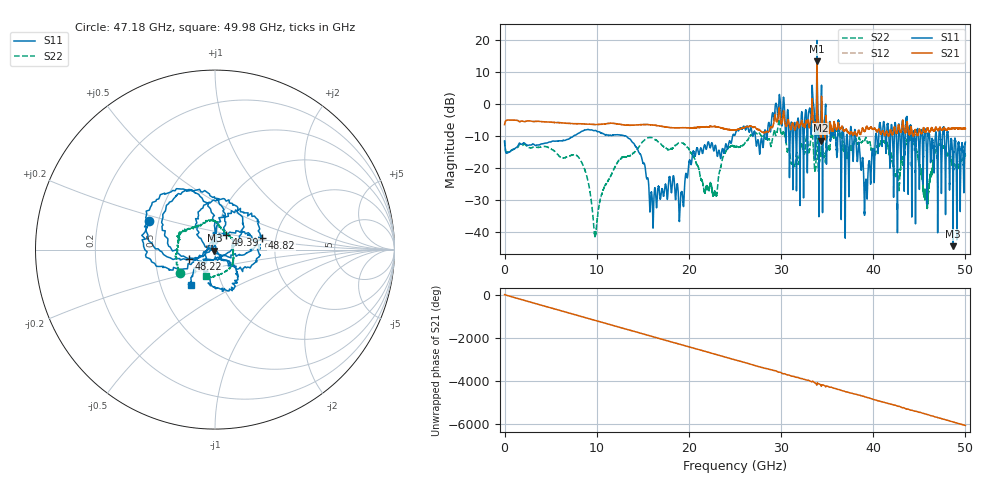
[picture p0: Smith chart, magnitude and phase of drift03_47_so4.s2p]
!Created with skrf (http://scikit-rf.org).
# Hz S RI R 50.0
!freq ReS11 ImS11 ReS21 ImS21 ReS12 ImS12 ReS22 ImS22
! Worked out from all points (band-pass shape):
!   10001 points, 300 kHz to 50 GHz, reference 50 ohm
!   highest |S21| = 13.21 dB at 33.9 GHz (marker M1); lowest = -11.4 dB at 34.32 GHz (marker M2)
!   |S21| within 3 dB of the highest: 33.8898 GHz to 33.90475 GHz (14.96 MHz wide, 0.0441 % of centre)
!   lowest |S11| = -44.3 dB at 48.67 GHz (marker M3), VSWR 1.01, Z = 49.7 - j0.533 ohm
!   |S11| at or under -10 dB: start of sweep to 7.489 GHz; 13.13 GHz to 24.74 GHz (11.61 GHz wide, 61.3 % of centre); 38.09 GHz to 40.25 GHz (2.159 GHz wide, 5.51 % of centre) (the widest 3 of 49)
!   |S22| runs from -41.4 to 5.5 dB; largest |S21 - S12| = 0.34
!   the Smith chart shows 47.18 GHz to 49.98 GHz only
!   S11 on the Smith chart (normalised r, x): 47.18 GHz: 0.44, +0.17; 48.22 GHz: 0.74, -0.08; 48.82 GHz: 1.70, +0.24; 49.39 GHz: 1.12, +0.18; 49.98 GHz: 0.71, -0.30
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300000  -0.2349 -0.1215  0.4667 0.0801  0.4658 0.0807  -0.236 -0.1262
1.440291e9  0.21 0.0649  -0.5475 -0.0293  -0.548 -0.0295  0.2114 -0.00419
2.915283e9  -0.2121 -0.088  0.534 0.0519  0.5343 0.0519  -0.2022 0.0401
4.415274e9  0.2061 0.1324  -0.5221 -0.0421  -0.5217 -0.0422  0.1983 -0.087
8.33525e9  0.2889 -0.2334  0.146 0.4663  0.1462 0.4665  -0.0727 -0.1016
9.845241e9  -0.3637 0.1287  -0.1478 -0.4522  -0.1482 -0.4526  0.00866 0.00218
1.66702e10  0.0268 0.0441  -0.3788 0.2531  -0.3792 0.2533  -0.1277 -0.2201
2.500015e10  -0.327 -0.015  -0.2541 -0.2976  -0.2535 -0.2991  -0.2142 0.0279
2.895513e10  -0.3258 0.432  -0.2888 0.3252  -0.2992 0.2902  0.0645 0.2224
3.006512e10  0.4013 0.2658  0.4511 -0.1964  0.4547 -0.1831  0.1765 -0.2971
3.171011e10  -0.0921 0.1851  -0.3628 0.3573  -0.3649 0.356  0.0651 0.1594
3.33351e10  0.6462 -0.8182  0.2578 -0.8521  0.2589 -0.8302  -0.1881 -0.4257
3.39001e10  3.973 -8.575  -4.058 -2.111  -3.978 -1.78  -0.7491 1.725
3.432009e10  -0.78 -0.000441  -0.1806 0.1986  -0.2418 0.1779  0.1428 -0.0729
4.167005e10  -0.2048 0.3012  0.3147 0.0024  0.3153 0.00991  -0.1939 -0.00931
4.718002e10  -0.3694 0.1609  0.2698 0.3153  0.2683 0.3176  -0.1968 -0.1301
4.822001e10  -0.145 -0.0521  0.1292 -0.3906  0.1295 -0.3934  -0.0247 0.167
4.867001e10  -0.00289 -0.00537  -0.2648 -0.3321  -0.2595 -0.3314  0.0774 0.0774
4.881501e10  0.2645 0.0641  -0.3514 -0.2223  -0.3502 -0.2219  0.1022 0.0529
4.939e10  0.0636 0.0804  -0.3367 0.2371  -0.3392 0.239  0.1005 -0.0612
4.998e10  -0.134 -0.198  0.1204 0.3943  0.1216 0.3954  -0.0504 -0.1497
5e10  -0.1219 -0.2222  0.1422 0.3856  0.1413 0.3847  -0.054 -0.1444
